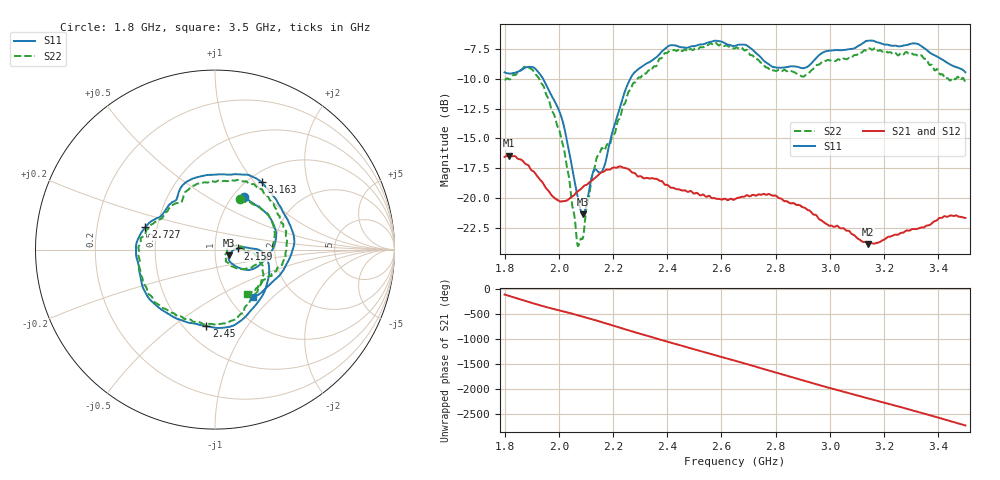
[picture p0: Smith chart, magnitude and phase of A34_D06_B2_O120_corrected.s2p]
! Created with skrf 1.9.0 (http://scikit-rf.org).
# Hz S RI R 50.0
!freq ReS11 ImS11 ReS21 ImS21 ReS12 ImS12 ReS22 ImS22
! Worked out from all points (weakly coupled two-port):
!   1601 points, 1.8 GHz to 3.5 GHz, reference 50 ohm
!   highest |S21| = -16.46 dB at 1.815 GHz (marker M1); lowest = -23.9 dB at 3.142 GHz (marker M2)
!   lowest |S11| = -21.4 dB at 2.09 GHz (marker M3), VSWR 1.19, Z = 58.5 - j3.7 ohm
!   |S11| at or under -10 dB: 1.942 GHz to 2.263 GHz (321.1 MHz wide, 15.3 % of centre)
!   |S22| runs from -24.0 to -7.0 dB; largest |S21 - S12| = 0.0025
!   S11 on the Smith chart (normalised r, x): 1.8 GHz: 1.12, +0.75; 2.159 GHz: 1.30, +0.02; 2.45 GHz: 0.64, -0.67; 2.727 GHz: 0.43, +0.13; 3.163 GHz: 1.15, +1.09; 3.5 GHz: 1.28, -0.76
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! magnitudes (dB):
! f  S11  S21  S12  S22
! 1.8 GHz  -9.4  -16.6  -16.6  -10.1
! 1.815 GHz  -9.5  -16.5  -16.5  -10.0
! 1.882 GHz  -9.0  -17.2  -17.2  -9.0
! 1.942 GHz  -10.0  -18.8  -18.8  -10.6
! 2.013 GHz  -13.4  -20.3  -20.3  -15.3
! 2.068 GHz  -19.7  -19.5  -19.5  -23.8
! 2.084 GHz  -21.2  -19.2  -19.2  -23.4
! 2.09 GHz  -21.4  -19.0  -19.1  -23.2
! 2.127 GHz  -17.8  -18.4  -18.4  -17.8
! 2.159 GHz  -17.8  -17.8  -17.8  -15.8
! 2.26 GHz  -10.2  -17.6  -17.6  -11.0
! 2.367 GHz  -8.0  -18.5  -18.4  -8.5
! 2.45 GHz  -7.3  -19.3  -19.3  -7.6
! 2.65 GHz  -7.2  -20.1  -20.1  -7.4
! 2.727 GHz  -7.8  -19.8  -19.8  -8.3
! 2.798 GHz  -9.0  -19.8  -19.8  -9.3
! 2.934 GHz  -8.6  -21.3  -21.2  -9.2
! 3.142 GHz  -6.8  -23.9  -23.7  -7.5
! 3.163 GHz  -6.8  -23.8  -23.8  -7.4
! 3.217 GHz  -7.2  -23.2  -23.2  -7.8
! 3.324 GHz  -7.1  -22.6  -22.5  -8.1
! 3.5 GHz  -9.4  -21.7  -21.7  -10.3
